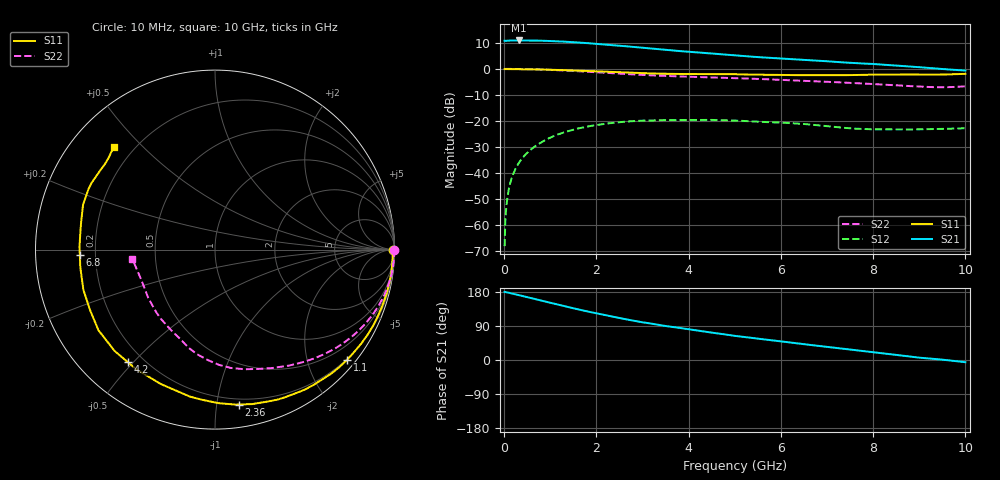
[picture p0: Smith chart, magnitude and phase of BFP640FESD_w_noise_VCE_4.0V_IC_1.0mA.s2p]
! Infineon Technologies  Discrete & RF Semiconductors
! BFP640FESD
! VCE =  4.0 V,  IC =  1.0 mA
! Common Emitter S-Parameters:  Jan 2016
# GHz  S  MA  R  50
!  f  S11  S21  S12  S22
! GHz  MAG  ANG  MAG  ANG  MAG  ANG  MAG  ANG
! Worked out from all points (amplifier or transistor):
!   233 points, 10 MHz to 10 GHz, reference 50 ohm
!   highest |S21| = 10.9 dB at 320 MHz (marker M1)
!   |S21| within 3 dB of that: start of sweep to 3.113 GHz
!   unconditionally stable (mu >= 1): 6.81 GHz to end of sweep
!   at 200 MHz: K = 0.00, MSG = 25.5 dB, |S12| = -40.2 dB
!   at 1.74 GHz: K = 0.09, MSG = 16.1 dB, |S12| = -22.3 dB
!   at 10 GHz: K = 1.84, MAG = 5.8 dB, |S12| = -22.8 dB
!   lowest NFmin = 0.44 dB at 450 MHz
!   S11 on the Smith chart (normalised r, x): 10 MHz: open; 1.1 GHz: 0.18, -2.74; 2.36 GHz: 0.16, -1.15; 4.2 GHz: 0.14, -0.48; 6.8 GHz: 0.14, -0.02; 10 GHz: 0.13, +0.41
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0.01  0.9902 -0.2  3.472 179.5  0.0004 26.8  0.9977 0.0
0.02  0.9915 -0.6  3.443 179.7  0.001 78.2  0.9988 -0.4
0.03  0.9913 -1.0  3.445 179.3  0.0015 78.5  0.9988 -0.6
0.06  0.9909 -2.1  3.455 178.3  0.0029 81.2  0.9989 -1.2
0.09  0.9905 -3.1  3.472 177.8  0.0044 85.4  0.9988 -1.9
0.17  0.9903 -6.3  3.493 175.5  0.0084 85.2  0.9979 -3.5
0.32  0.9886 -11.6  3.503 171.1  0.0158 82.4  0.9948 -6.6
0.7  0.9777 -25.5  3.486 159.9  0.0342 73.9  0.9783 -14.5
1.1  0.9585 -39.9  3.392 148.2  0.0525 64.7  0.9495 -22.6
1.4  0.9384 -50.6  3.29 139.3  0.0647 57.6  0.9221 -28.8
1.68  0.9196 -60.0  3.175 131.5  0.0746 51.3  0.8941 -34.2
1.9  0.9058 -67.2  3.077 125.7  0.0813 46.6  0.8718 -38.5
2.36  0.8731 -81.3  2.852 114.1  0.0925 37.4  0.8251 -46.8
2.98  0.8318 -99.1  2.545 99.9  0.1016 26.1  0.7672 -57.3
3.4  0.8092 -109.5  2.352 91.8  0.1038 19.9  0.7379 -63.0
4.2  0.7931 -127.8  2.06 77.7  0.105 10.6  0.698 -72.4
5.1  0.7849 -147.0  1.79 62.3  0.1014 1.1  0.6602 -83.5
6  0.7667 -163.0  1.584 49.1  0.0936 -5.0  0.6168 -93.7
6.8  0.7537 -177.7  1.434 37.5  0.083 -8.5  0.576 -102.8
8.4  0.7812 154.5  1.175 14.9  0.0691 1.3  0.4902 -127.7
9  0.777 146.2  1.077 6.2  0.0693 5.2  0.4596 -143.9
10  0.8028 134.7  0.928 -5.8  0.0728 11.9  0.4636 -173.6
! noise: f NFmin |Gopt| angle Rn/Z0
0.45  0.44  0.85  9  0.44
2.4  1.03  0.61  61  0.35
5.5  1.58  0.64  145  0.12
10  3.33  0.68  -128  0.52
